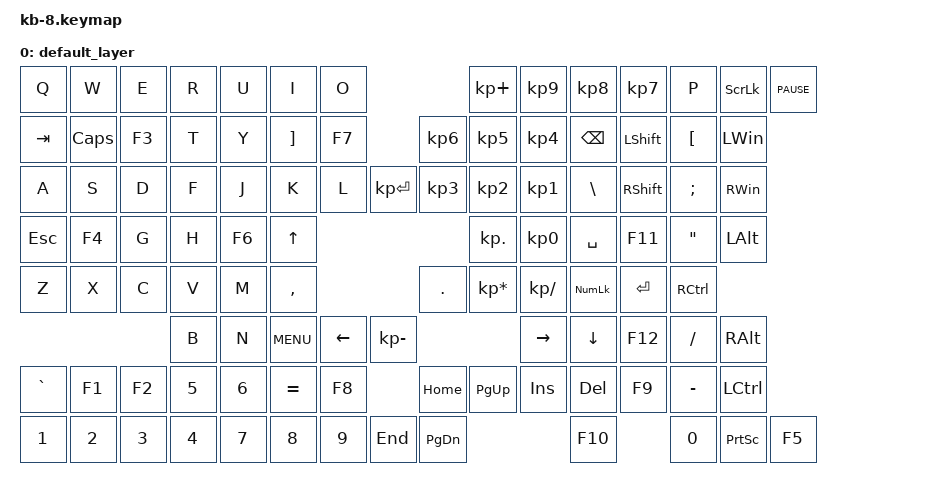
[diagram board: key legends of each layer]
/*
 * Copyright (c) 2023 burningbright
 *
 * SPDX-License-Identifier: MIT
 */

#include <behaviors.dtsi>
#include <dt-bindings/zmk/keys.h>
#include <dt-bindings/zmk/bt.h>

/ {
    keymap {
        compatible = "zmk,keymap";

        default_layer {
            bindings = <
    &kp Q     &kp W    &kp E   &kp R  &kp U  &kp I      &kp O      &kp KP_PLUS   &kp KP_N9       &kp KP_N8     &kp KP_N7                          &kp P     &kp SLCK   &kp C_PAUSE
    &kp TAB   &kp CAPS &kp F3  &kp T  &kp Y  &kp RBKT   &kp F7                   &kp KP_N6       &kp KP_N5     &kp KP_N4   &kp BSPC   &kp LSHFT   &kp LBKT                         &kp LWIN
    &kp A     &kp S    &kp D   &kp F  &kp J  &kp K      &kp L      &kp KP_ENTER  &kp KP_N3       &kp KP_N2     &kp KP_N1   &kp BSLH   &kp RSHFT   &kp SEMI                                  &kp RWIN
    &kp ESC            &kp F4  &kp G  &kp H  &kp F6                &kp UP        &kp KP_DOT      &kp KP_N0     &kp SPACE   &kp F11                &kp DQT   &kp LALT
    &kp Z     &kp X    &kp C   &kp V  &kp M  &kp COMMA  &kp DOT                  &kp KP_MULTIPLY &kp KP_DIVIDE &kp KP_NUM  &kp ENTER                                   &kp RCTRL
                               &kp B  &kp N             &kp K_MENU &kp LEFT      &kp KP_MINUS    &kp RIGHT     &kp DOWN    &kp F12                &kp SLASH &kp RALT
    &kp GRAVE &kp F1   &kp F2  &kp N5 &kp N6 &kp EQUAL  &kp F8     &kp HOME      &kp PG_UP       &kp INS       &kp DELETE  &kp F9                 &kp MINUS            &kp LCTRL
    &kp N1    &kp N2   &kp N3  &kp N4 &kp N7 &kp N8     &kp N9     &kp END       &kp PG_DN                                 &kp F10                &kp N0    &kp PSCRN  &kp F5
            >;
        };
    };
};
